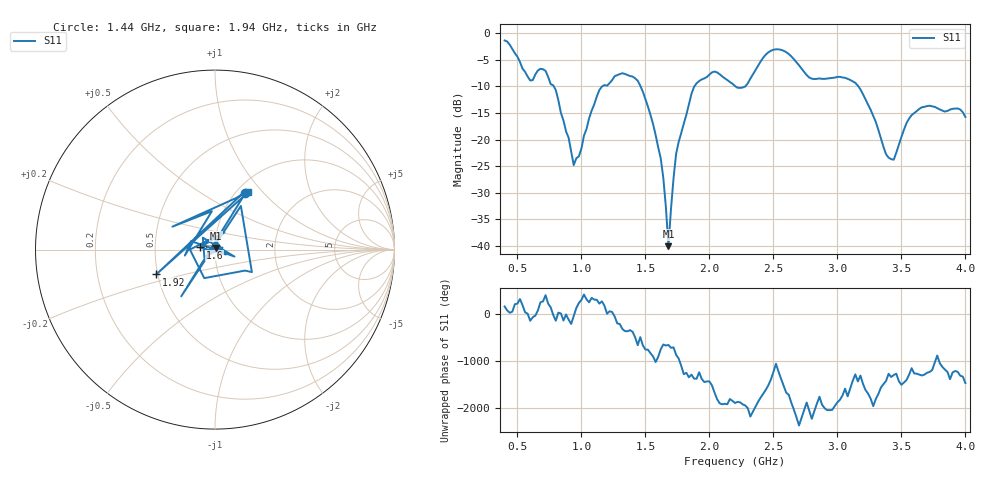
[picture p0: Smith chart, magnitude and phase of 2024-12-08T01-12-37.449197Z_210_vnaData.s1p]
!Created with skrf (http://scikit-rf.org).
# Hz S RI R 50.0
!freq ReS11 ImS11
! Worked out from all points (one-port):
!   181 points, 400 MHz to 4 GHz, reference 50 ohm
!   lowest |S11| = -40.1 dB at 1.68 GHz (marker M1), VSWR 1.02, Z = 50.4 + j0.914 ohm
!   |S11| at or under -10 dB: 784.8 MHz to 1.161 GHz (376.4 MHz wide, 38.7 % of centre); 1.463 GHz to 1.882 GHz (419.6 MHz wide, 25.1 % of centre); 3.164 GHz to end of sweep (the widest 3 of 4)
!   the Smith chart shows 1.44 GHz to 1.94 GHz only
!   S11 on the Smith chart (normalised r, x): 1.44 GHz: 1.11, +0.80; 1.6 GHz: 0.85, +0.02; 1.92 GHz: 0.49, -0.16; 1.94 GHz: 1.13, +0.83
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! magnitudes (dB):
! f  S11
! 400 MHz  -1.3
! 600 MHz  -8.9
! 720 MHz  -7.1
! 860 MHz  -16.4
! 940 MHz  -24.8
! 1.14 GHz  -10.7
! 1.3 GHz  -7.7
! 1.44 GHz  -8.9
! 1.6 GHz  -21.5
! 1.64 GHz  -27.3
! 1.68 GHz  -40.1
! 1.72 GHz  -27.2
! 1.76 GHz  -20.4
! 1.92 GHz  -9.0
! 1.94 GHz  -8.7
! 2.04 GHz  -7.2
! 2.2 GHz  -9.9
! 2.28 GHz  -10.0
! 2.48 GHz  -3.3
! 2.66 GHz  -4.9
! 2.8 GHz  -8.5
! 3.1 GHz  -8.8
! 3.2 GHz  -11.5
! 3.4 GHz  -23.4
! 3.44 GHz  -23.8
! 3.56 GHz  -16.1
! 3.72 GHz  -13.6
! 4 GHz  -15.7
